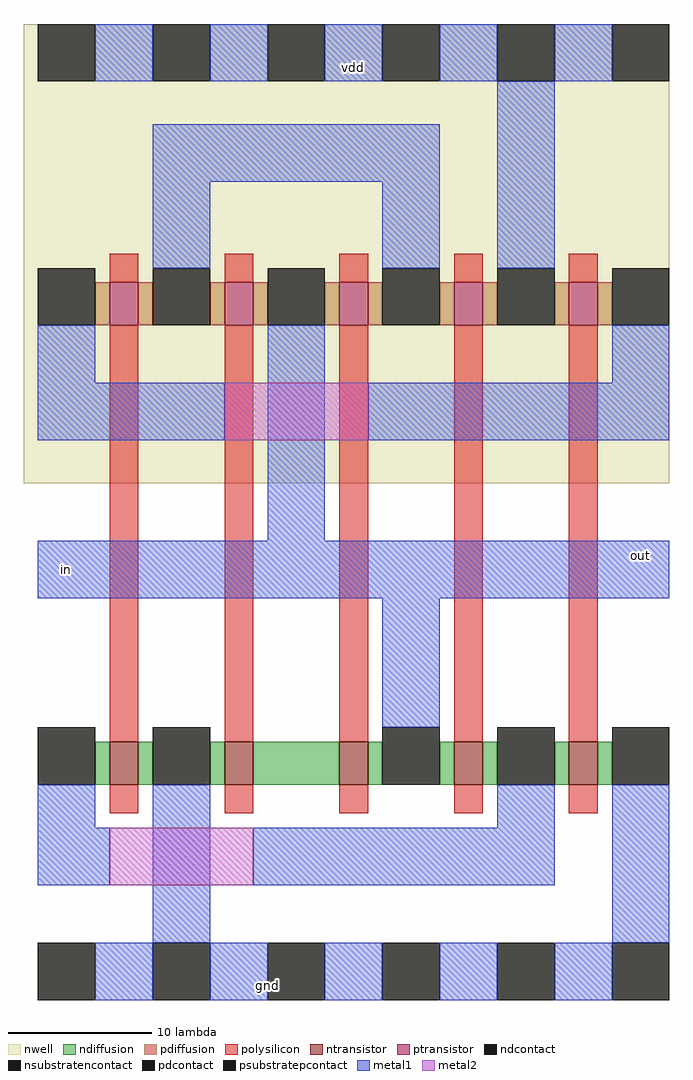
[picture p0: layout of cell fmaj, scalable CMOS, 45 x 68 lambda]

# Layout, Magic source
magic
tech scmos
<< nwell >>
rect -25 32 20 64
<< polysilicon >>
rect -19 46 -17 48
rect -11 46 -9 48
rect -3 46 -1 48
rect 5 46 7 48
rect 13 46 15 48
rect -19 14 -17 43
rect -11 14 -9 43
rect -3 14 -1 43
rect 5 14 7 43
rect 13 14 15 43
rect -19 9 -17 11
rect -11 9 -9 11
rect -3 9 -1 11
rect 5 9 7 11
rect 13 9 15 11
<< ndiffusion >>
rect -20 11 -19 14
rect -17 11 -16 14
rect -12 11 -11 14
rect -9 11 -3 14
rect -1 11 0 14
rect 4 11 5 14
rect 7 11 8 14
rect 12 11 13 14
rect 15 11 16 14
<< pdiffusion >>
rect -20 43 -19 46
rect -17 43 -16 46
rect -12 43 -11 46
rect -9 43 -8 46
rect -4 43 -3 46
rect -1 43 0 46
rect 4 43 5 46
rect 7 43 8 46
rect 12 43 13 46
rect 15 43 16 46
<< metal1 >>
rect -20 60 -16 64
rect -12 60 -8 64
rect -4 60 0 64
rect 4 60 8 64
rect 12 60 16 64
rect -16 53 4 57
rect -16 47 -12 53
rect 0 47 4 53
rect 8 47 12 60
rect -24 39 -20 43
rect -24 35 -11 39
rect -8 28 -4 43
rect 16 39 20 43
rect -1 35 20 39
rect -24 24 20 28
rect 0 15 4 24
rect -24 8 -20 11
rect -24 4 -19 8
rect -16 0 -12 11
rect 8 8 12 11
rect -9 4 12 8
rect 16 0 20 11
rect -20 -4 -16 0
rect -12 -4 -8 0
rect -4 -4 0 0
rect 4 -4 8 0
rect 12 -4 16 0
<< metal2 >>
rect -11 35 -1 39
rect -19 4 -9 8
<< ntransistor >>
rect -19 11 -17 14
rect -11 11 -9 14
rect -3 11 -1 14
rect 5 11 7 14
rect 13 11 15 14
<< ptransistor >>
rect -19 43 -17 46
rect -11 43 -9 46
rect -3 43 -1 46
rect 5 43 7 46
rect 13 43 15 46
<< ndcontact >>
rect -24 11 -20 15
rect -16 11 -12 15
rect 0 11 4 15
rect 8 11 12 15
rect 16 11 20 15
<< pdcontact >>
rect -24 43 -20 47
rect -16 43 -12 47
rect -8 43 -4 47
rect 0 43 4 47
rect 8 43 12 47
rect 16 43 20 47
<< psubstratepcontact >>
rect -24 -4 -20 0
rect -16 -4 -12 0
rect -8 -4 -4 0
rect 0 -4 4 0
rect 8 -4 12 0
rect 16 -4 20 0
<< nsubstratencontact >>
rect -24 60 -20 64
rect -16 60 -12 64
rect -8 60 -4 64
rect 0 60 4 64
rect 8 60 12 64
rect 16 60 20 64
<< labels >>
rlabel metal1 -4 61 0 61 5 vdd
rlabel metal1 16 27 20 27 7 out
rlabel metal1 -24 26 -20 26 3 in
rlabel metal1 -10 -3 -6 -3 1 gnd
<< end >>
